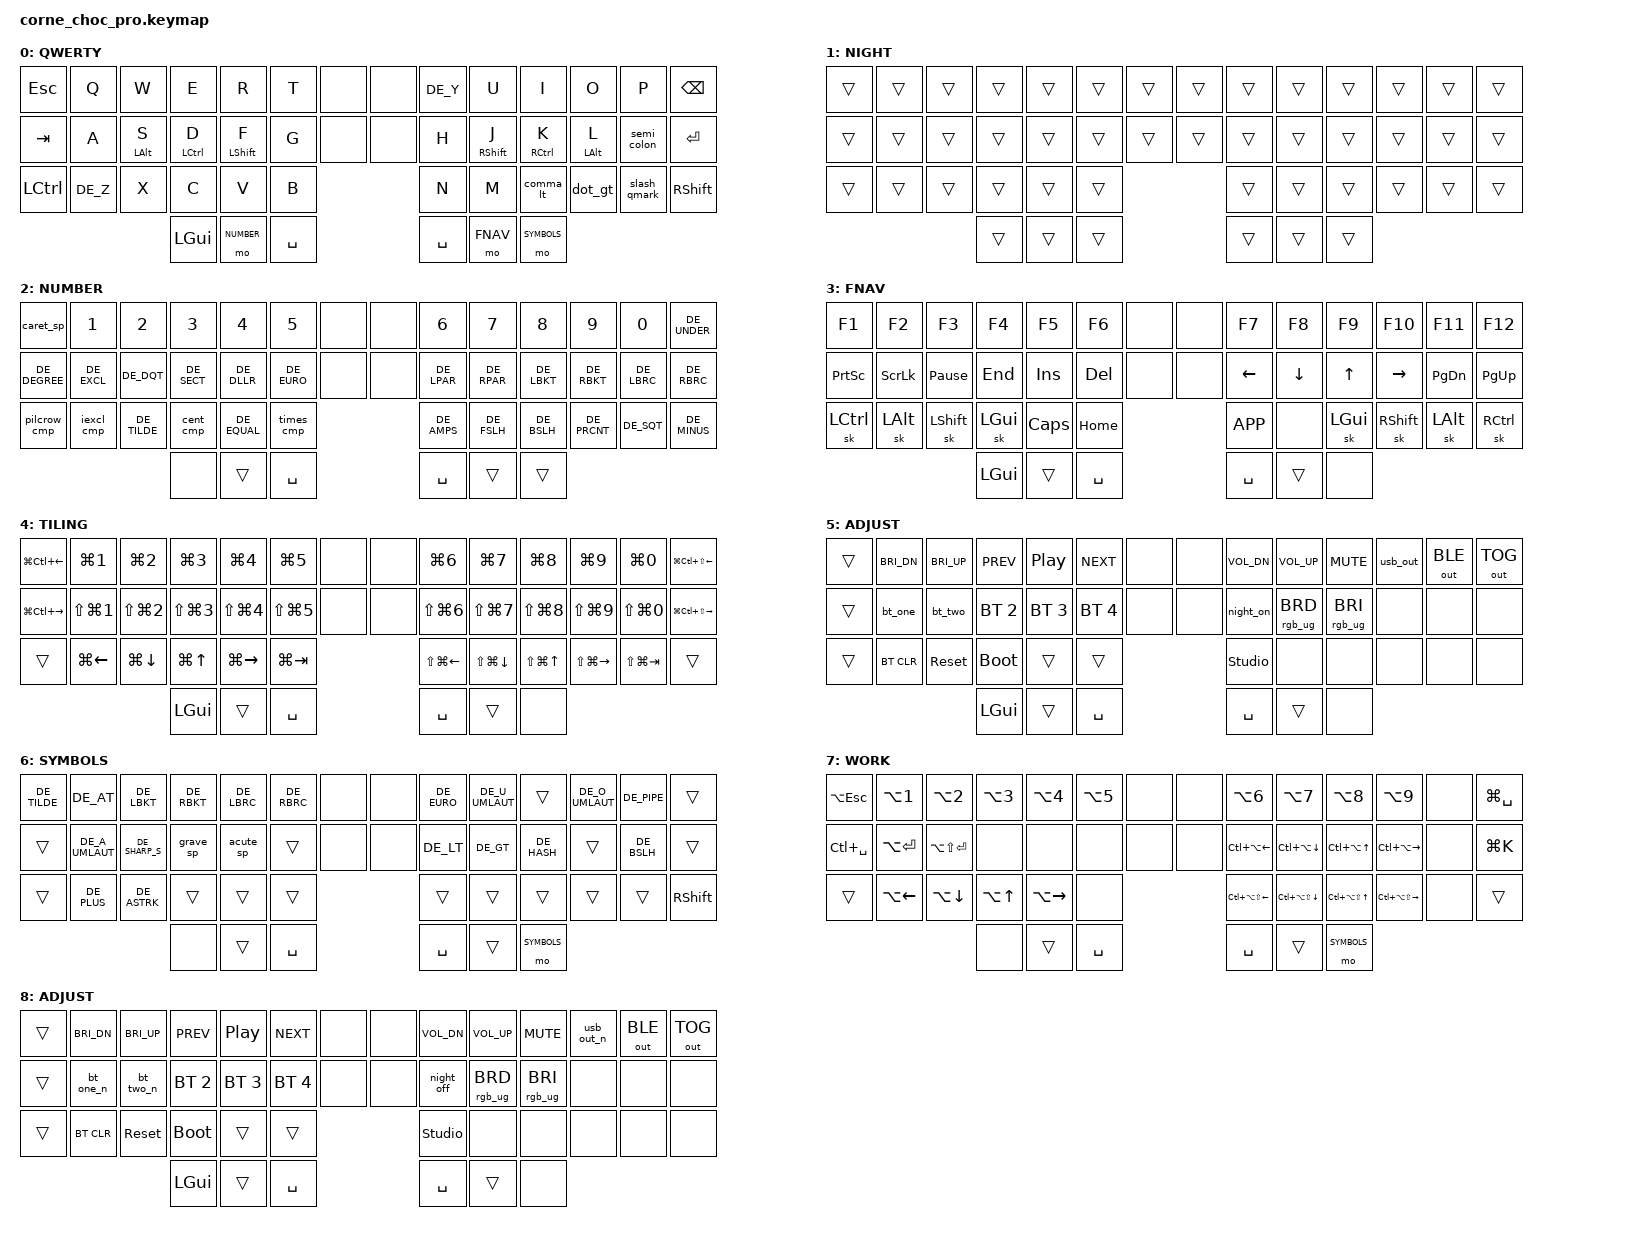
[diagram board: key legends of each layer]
/*
 * Copyright (c) 2020 The ZMK Contributors
 *
 * SPDX-License-Identifier: MIT
 *
 * Corne Choc Pro BT (nRF52840, nice!view) – German host layout
 *
 * The host uses the system layout "de" (XKBLAYOUT=de); there is no per-device override and no remapping tool. Every
 * character is sent with a DE_* key code (keys_de.h), so the character that is meant is the character that arrives.
 * Letters are QWERTY as on the keycaps: DE_Y on the top row, DE_Z on the bottom row (the host swaps y and z).
 * The repository is the truth: ZMK Studio is for trying things out only (see README).
 *
 * Layers:
 * 0 BASE          QWERTY; the keycap legends are US: ; : , < . > / ? come from mod-morphs
 * 1 NIGHT         on with H on ADJUST, off with H on ADJUST_NIGHT: all transparent; only a marker for the night light,
 *                 it makes ADJUST become ADJUST_NIGHT
 * 2 NUMBER        Lower (left middle thumb): digits and symbols
 * 3 FNAV          Raise (right middle thumb): F-keys, arrows, navigation, sticky modifiers (bottom row)
 * 4 TILING        Lower + Raise: Hyprland (Omarchy 4.5.0) workspaces, focus, monitors
 * 5 ADJUST        Left Space + Right Space (combo): media, Bluetooth, reset, bootloader, Studio unlock
 * 6 SYMBOLS       right outer thumb: umlauts, ß, € and developer characters
 * 7 WORK          Lower + Symbols: herdr (Alt chords) and Omarchy single keys (menu, key list)
 * 8 ADJUST_NIGHT  ADJUST while NIGHT is on (conditional layer)
 *
 * The layer numbers are the #defines below; the keymap node order must match them.
 *
 * Home-row mods (base layer): S/L = Alt, D/K = Ctrl, F/J = Shift when held together with a key of the other hand; a tap
 * types the letter. Alt+Tab: hold L (right hand), press Tab (left hand).
 *
 * Sticky modifiers (FNAV, bottom row, both halves): tap a modifier while Raise is held, release Raise, then press the key
 * (up to 3 s after the tap, the modifiers stack): Raise, Alt, Shift, release, T = Alt+Shift+T. Held together with another
 * key they are normal modifiers. The right Alt key is LALT, not RALT: RALT is AltGr in the German layout.
 *
 * Characters the German layout has no key for (¶ ¡ ¢ ×) are typed with the compose key (Omarchy 4.5.0: Shift+Caps Lock)
 * and a sequence of the X11 Compose table, one macro each on the NUMBER layer.
 *
 * Dead keys of the German layout (^ ´ `) need a following Space on the host: the macros caret_sp, acute_sp and grave_sp
 * send the character and the Space, so the character appears at once.
 */

#include <behaviors.dtsi>
#include <dt-bindings/zmk/keys.h>
#include <dt-bindings/zmk/bt.h>
#include <dt-bindings/zmk/outputs.h>
#include <dt-bindings/zmk/rgb.h>
#include "keys_de.h"

// Sticky modifiers stay for 3 s after the tap (ZMK default 1 s): too short for "hold Raise, tap two modifiers, release, key".
&sk {
    release-after-ms = <3000>;
};

// Layer numbers. The order of the nodes in the keymap below must match them.
#define BASE          0
#define NIGHT         1
#define NUMBER        2
#define FNAV          3
#define TILING        4
#define ADJUST        5
#define SYMBOLS       6
#define WORK          7
#define ADJUST_NIGHT  8

// Device colours: the LEDs show which device the keyboard now talks to (hue 0..360, saturation 0..100).
// Teal and Mauve are the host colours of the two computers: PROMPT_COLOR in hosts/*/host.env of the dotfiles repository,
// Catppuccin Mocha Teal #94e2d5 (hue 170) for yaxay-one and Mauve #cba6f7 (hue 267) for yaxay-two. The saturation is
// deliberately raised (the palette colours have about 35 % and 33 %): at 20 % LED brightness a pastel would look white.
// USB is a warm orange that belongs to no host.
#define HUE_BT_ONE    170   // Teal,  BT profile 0 (yaxay-one)
#define SAT_BT_ONE    85
#define HUE_BT_TWO    267   // Mauve, BT profile 1 (yaxay-two)
#define SAT_BT_TWO    80
#define HUE_USB       30    // orange, USB output
#define SAT_USB       50

// Brightness is a percentage of CONFIG_ZMK_RGB_UNDERGLOW_BRT_MAX (20 in the board's defconfig): 100 is 20 % of what the
// LEDs can do, 20 is 4 % (night light).
#define BRT_DEVICE    100
#define BRT_NIGHT     20

// How long a device colour stays on, in ms, and the macro wait time that is in force otherwise (the value of
// CONFIG_ZMK_MACRO_DEFAULT_WAIT_MS, ZMK's default).
#define LIGHT_MS      2000
#define MACRO_WAIT_DEFAULT 15

/ {
    chosen {
        zmk,physical-layout = &default_layout;
    };

    // Conditional layers
    conditional_layers {
        compatible = "zmk,conditional-layers";

        // Tiling: Lower + Raise
        tri_layer_tiling {
            if-layers = <NUMBER FNAV>;
            then-layer = <TILING>;
        };

        // Work (herdr, Omarchy single keys): Lower + Symbols
        tri_layer_work {
            if-layers = <NUMBER SYMBOLS>;
            then-layer = <WORK>;
        };

        // Night light: ADJUST while NIGHT is on shows the night-light variants of the device keys
        adjust_night {
            if-layers = <ADJUST NIGHT>;
            then-layer = <ADJUST_NIGHT>;
        };
    };

    // Combos for Adjust layer (Left Space + Right Space)
    combos {
        compatible = "zmk,combos";

        combo_adjust {
            timeout-ms = <50>;
            key-positions = <42 43>; // Left Space (42) + Right Space (43)
            bindings = <&mo ADJUST>;
        };
    };

    behaviors {
        // Home-row mods: hold = modifier only together with a key of the other hand (positional), tap = letter.
        hml: homerow_mods_left {
            compatible = "zmk,behavior-hold-tap";
            #binding-cells = <2>;
            flavor = "balanced";
            tapping-term-ms = <280>;
            quick-tap-ms = <175>;
            require-prior-idle-ms = <150>;
            bindings = <&kp>, <&kp>;
            hold-trigger-key-positions = <8 9 10 11 12 13 22 23 24 25 26 27 34 35 36 37 38 39 43 44 45>;
            hold-trigger-on-release;
        };
        hmr: homerow_mods_right {
            compatible = "zmk,behavior-hold-tap";
            #binding-cells = <2>;
            flavor = "balanced";
            tapping-term-ms = <280>;
            quick-tap-ms = <175>;
            require-prior-idle-ms = <150>;
            bindings = <&kp>, <&kp>;
            hold-trigger-key-positions = <0 1 2 3 4 5 14 15 16 17 18 19 28 29 30 31 32 33 40 41 42>;
            hold-trigger-on-release;
        };

        // US legends on the base layer with the German host layout: the shifted character is another key code.
        semi_colon: semi_colon {
            compatible = "zmk,behavior-mod-morph";
            #binding-cells = <0>;
            bindings = <&kp DE_SEMI>, <&kp DE_COLON>;
            mods = <(MOD_LSFT|MOD_RSFT)>;
        };
        comma_lt: comma_lt {
            compatible = "zmk,behavior-mod-morph";
            #binding-cells = <0>;
            bindings = <&kp DE_COMMA>, <&kp DE_LT>;
            mods = <(MOD_LSFT|MOD_RSFT)>;
        };
        dot_gt: dot_gt {
            compatible = "zmk,behavior-mod-morph";
            #binding-cells = <0>;
            bindings = <&kp DE_DOT>, <&kp DE_GT>;
            mods = <(MOD_LSFT|MOD_RSFT)>;
        };
        slash_qmark: slash_qmark {
            compatible = "zmk,behavior-mod-morph";
            #binding-cells = <0>;
            bindings = <&kp DE_FSLH>, <&kp DE_QMARK>;
            mods = <(MOD_LSFT|MOD_RSFT)>;
        };
    };

    macros {
        // Characters the German layout has no key for: the compose key (Omarchy 4.5.0: Shift+Caps Lock) and the sequence
        // from the X11 Compose table (checked in en_US.UTF-8/Compose; ~/.XCompose of the computer does not touch them).
        pilcrow_cmp: pilcrow_cmp {
            compatible = "zmk,behavior-macro";
            #binding-cells = <0>;
            bindings = <&macro_tap &kp LS(CAPS) &kp P &kp DE_EXCL>;        // ¶ = Compose p !
        };
        iexcl_cmp: iexcl_cmp {
            compatible = "zmk,behavior-macro";
            #binding-cells = <0>;
            bindings = <&macro_tap &kp LS(CAPS) &kp DE_EXCL &kp DE_EXCL>;  // ¡ = Compose ! !
        };
        cent_cmp: cent_cmp {
            compatible = "zmk,behavior-macro";
            #binding-cells = <0>;
            bindings = <&macro_tap &kp LS(CAPS) &kp C &kp DE_FSLH>;        // ¢ = Compose c /
        };
        times_cmp: times_cmp {
            compatible = "zmk,behavior-macro";
            #binding-cells = <0>;
            bindings = <&macro_tap &kp LS(CAPS) &kp X &kp X>;              // × = Compose x x
        };
        // Dead keys of the German layout: the character and a Space, so it is typed at once.
        caret_sp: caret_sp {
            compatible = "zmk,behavior-macro";
            #binding-cells = <0>;
            bindings = <&macro_tap &kp DE_CARET &kp SPACE>;
        };
        acute_sp: acute_sp {
            compatible = "zmk,behavior-macro";
            #binding-cells = <0>;
            bindings = <&macro_tap &kp DE_ACUTE &kp SPACE>;
        };
        grave_sp: grave_sp {
            compatible = "zmk,behavior-macro";
            #binding-cells = <0>;
            bindings = <&macro_tap &kp DE_GRAVE &kp SPACE>;
        };

        // Device colours: select the output or the profile, show the colour of the device for LIGHT_MS, switch the LEDs
        // off. RGB_COLOR_HSB and RGB_ON go to both halves (global behaviour). All macros share one queue: while one waits,
        // the next one (also the dead-key macros above) starts after it, up to LIGHT_MS later. Plain key presses are not
        // delayed. The wait set before RGB_ON is the pause after it, so the LEDs stay on for LIGHT_MS before RGB_OFF;
        // it is set back before RGB_OFF, or the queue would stand still for LIGHT_MS after it.
        bt_one: bt_one {
            compatible = "zmk,behavior-macro";
            #binding-cells = <0>;
            bindings = <&macro_tap
                &bt BT_SEL 0
                &rgb_ug RGB_COLOR_HSB(HUE_BT_ONE, SAT_BT_ONE, BRT_DEVICE)
                &macro_wait_time LIGHT_MS
                &rgb_ug RGB_ON
                &macro_wait_time MACRO_WAIT_DEFAULT
                &rgb_ug RGB_OFF>;
        };
        bt_two: bt_two {
            compatible = "zmk,behavior-macro";
            #binding-cells = <0>;
            bindings = <&macro_tap
                &bt BT_SEL 1
                &rgb_ug RGB_COLOR_HSB(HUE_BT_TWO, SAT_BT_TWO, BRT_DEVICE)
                &macro_wait_time LIGHT_MS
                &rgb_ug RGB_ON
                &macro_wait_time MACRO_WAIT_DEFAULT
                &rgb_ug RGB_OFF>;
        };
        usb_out: usb_out {
            compatible = "zmk,behavior-macro";
            #binding-cells = <0>;
            bindings = <&macro_tap
                &out OUT_USB
                &rgb_ug RGB_COLOR_HSB(HUE_USB, SAT_USB, BRT_DEVICE)
                &macro_wait_time LIGHT_MS
                &rgb_ug RGB_ON
                &macro_wait_time MACRO_WAIT_DEFAULT
                &rgb_ug RGB_OFF>;
        };

        // Night light (ADJUST_NIGHT): the same colours at BRT_NIGHT, and the LEDs stay on.
        bt_one_n: bt_one_n {
            compatible = "zmk,behavior-macro";
            #binding-cells = <0>;
            bindings = <&macro_tap
                &bt BT_SEL 0
                &rgb_ug RGB_COLOR_HSB(HUE_BT_ONE, SAT_BT_ONE, BRT_NIGHT)
                &rgb_ug RGB_ON>;
        };
        bt_two_n: bt_two_n {
            compatible = "zmk,behavior-macro";
            #binding-cells = <0>;
            bindings = <&macro_tap
                &bt BT_SEL 1
                &rgb_ug RGB_COLOR_HSB(HUE_BT_TWO, SAT_BT_TWO, BRT_NIGHT)
                &rgb_ug RGB_ON>;
        };
        usb_out_n: usb_out_n {
            compatible = "zmk,behavior-macro";
            #binding-cells = <0>;
            bindings = <&macro_tap
                &out OUT_USB
                &rgb_ug RGB_COLOR_HSB(HUE_USB, SAT_USB, BRT_NIGHT)
                &rgb_ug RGB_ON>;
        };

        // Night light on and off. The NIGHT layer and the LEDs are in one macro, so they are queued behind macros that are
        // still running (a device colour is not cut short). Neither macro depends on the state the LEDs were in:
        // night_on (on ADJUST) dims first and switches on last, so there is no flash of the old brightness: RGB_BRD sets
        // the brightness absolutely on both halves and works with the LEDs off, ten steps of 10 reach 0 from any value
        // (the step is CONFIG_ZMK_RGB_UNDERGLOW_BRT_STEP, default 10), two RGB_BRI steps make 20 = BRT_NIGHT. The whole
        // macro takes 14 taps of 45 ms, about 0.6 s. night_off (on ADJUST_NIGHT) switches the NIGHT layer off and the
        // LEDs off.
        night_on: night_on {
            compatible = "zmk,behavior-macro";
            #binding-cells = <0>;
            bindings = <&macro_tap
                &tog NIGHT
                &rgb_ug RGB_BRD &rgb_ug RGB_BRD &rgb_ug RGB_BRD &rgb_ug RGB_BRD &rgb_ug RGB_BRD
                &rgb_ug RGB_BRD &rgb_ug RGB_BRD &rgb_ug RGB_BRD &rgb_ug RGB_BRD &rgb_ug RGB_BRD
                &rgb_ug RGB_BRI &rgb_ug RGB_BRI
                &rgb_ug RGB_ON>;
        };
        night_off: night_off {
            compatible = "zmk,behavior-macro";
            #binding-cells = <0>;
            bindings = <&macro_tap &tog NIGHT &rgb_ug RGB_OFF>;
        };
    };
};

/ {
    keymap {
        compatible = "zmk,keymap";

        default_layer {
            display-name = "QWERTY";
            // -----------------------------------------------------------------------------------------
            // QWERTY base layer (the keycaps are US-QWERTY)
            // | ESC  |  Q  |  W  |  E  |  R  |  T  | NONE | NONE |  Y  |  U  |  I  |  O  |  P  | BSPC|
            // | TAB  |  A  |  S  |  D  |  F  |  G  | NONE | NONE |  H  |  J  |  K  |  L  | ; : | ENT |
            // | CTRL |  Z  |  X  |  C  |  V  |  B  |              |  N  |  M  | , < | . > | / ? | SHFT|
            //                    | SUP | LWR | SPC |              | SPC | RSE | SYM |
            //
            // DE_Y / DE_Z: the host layout "de" swaps y and z, the key codes swap them back.
            // ; :  , <  . >  / ?  are mod-morphs: Shift sends the second character of the US legend.
            bindings = <
                &kp ESC   &kp Q    &kp W &kp E &kp R &kp T &none &none &kp DE_Y &kp U  &kp I     &kp O   &kp P        &kp BSPC
                &kp TAB   &kp A    &hml LALT S &hml LCTRL D &hml LSHFT F &kp G &none &none &kp H     &hmr RSHFT J  &hmr RCTRL K     &hmr LALT L   &semi_colon  &kp RET
                &kp LCTRL &kp DE_Z &kp X &kp C &kp V &kp B             &kp N     &kp M  &comma_lt &dot_gt &slash_qmark &kp RSHFT
                                            &kp LGUI &mo NUMBER &kp SPACE   &kp SPACE &mo FNAV &mo SYMBOLS
            >;
        };

        night_layer {
            display-name = "NIGHT";
            // -----------------------------------------------------------------------------------------
            // Marker layer for the night light: everything is transparent, so the keys of BASE show through. It is
            // switched on and off on ADJUST (right half, H: night_on and night_off). While it is on, the conditional layer
            // ADJUST_NIGHT replaces ADJUST.
            bindings = <
                &trans &trans &trans &trans &trans &trans &trans &trans &trans &trans &trans &trans &trans &trans
                &trans &trans &trans &trans &trans &trans &trans &trans &trans &trans &trans &trans &trans &trans
                &trans &trans &trans &trans &trans &trans               &trans &trans &trans &trans &trans &trans
                                      &trans &trans &trans               &trans &trans &trans
            >;
        };

        lower_layer {
            display-name = "NUMBER";
            // -----------------------------------------------------------------------------------------
            // Numbers and symbols (German key codes)
            // LEFT SIDE:                 RIGHT SIDE:
            // Row 1: ^  1  2  3  4  5    6  7  8  9  0  _
            // Row 2: °  !  "  §  $  €    (  )  [  ]  {  }
            // Row 3: +  *  ~  #  =  @    &  /  \  %  '  -
            //
            // ^ is a dead key on the host: caret_sp sends ^ and Space, so it is typed at once.
            // The left outer thumb (Super on the other layers) sends nothing here: with Super down, AltGr+8 would be
            // Super+8 (a workspace) instead of [ . Press Lower alone; if Super is already down, release it first.
            bindings = <
                &caret_sp     &kp N1      &kp N2     &kp N3       &kp N4       &kp N5      &none &none &kp N6        &kp N7        &kp N8        &kp N9        &kp N0        &kp DE_UNDER
                &kp DE_DEGREE &kp DE_EXCL &kp DE_DQT &kp DE_SECT  &kp DE_DLLR  &kp DE_EURO &none &none &kp DE_LPAR   &kp DE_RPAR   &kp DE_LBKT   &kp DE_RBKT   &kp DE_LBRC   &kp DE_RBRC
                &pilcrow_cmp  &iexcl_cmp   &kp DE_TILDE &cent_cmp    &kp DE_EQUAL &times_cmp        &kp DE_AMPS   &kp DE_FSLH   &kp DE_BSLH   &kp DE_PRCNT  &kp DE_SQT    &kp DE_MINUS
                                                          &none     &trans &kp SPACE   &kp SPACE &trans &trans
            >;
        };

        raise_layer {
            display-name = "FNAV";
            // -----------------------------------------------------------------------------------------
            // Function Keys and Navigation
            // |  F1 |  F2 |  F3 |  F4 |  F5 |  F6 | NONE | NONE |  F7 |  F8 |  F9 | F10 | F11 | F12 |
            // |PRINT|SCRLK|PAUSE| END | INS | DEL | NONE | NONE |  ←  |  ↓  |  ↑  |  →  |PGDN |PGUP |
            // |sCTRL|sALT |sSHFT|sSUP | CAPS| HOME|              | MENU|  -  |sSUP |sSHFT| sALT|sCTRL|
            //                    | SUP |     | SPC |              | SPC |     |  -  |
            // Del is on the left hand, next to Ctrl and Alt (Ctrl+Alt+Del closes all windows in Omarchy).
            // The bottom-row modifiers are sticky (&sk, 3 s): tap them while Raise is held, release Raise, then press the key;
            // several stack, and they apply to the next key that is not a modifier. Held together with another key they act
            // as normal modifiers. The right Alt is LALT: RALT is AltGr in the German layout.
            bindings = <
                &kp F1     &kp F2    &kp F3          &kp F4   &kp F5   &kp F6  &none &none &kp F7   &kp F8    &kp F9    &kp F10   &kp F11   &kp F12
                &kp PSCRN  &kp SLCK  &kp PAUSE_BREAK &kp END  &kp INS  &kp DEL &none &none &kp LEFT &kp DOWN  &kp UP    &kp RIGHT &kp PG_DN &kp PG_UP
                &sk LCTRL  &sk LALT  &sk LSHFT       &sk LGUI &kp CAPS &kp HOME        &kp K_APP &none    &sk LGUI  &sk RSHFT &sk LALT  &sk RCTRL
                                              &kp LGUI &trans &kp SPACE                &kp SPACE &trans &none
            >;
        };

        tiling_layer {
            display-name = "TILING";
            // -----------------------------------------------------------------------------------------
            // Hyprland (Omarchy 4.5.0), Lower + Raise. Every monitor has a block of ten workspaces; Super+1…0 acts on
            // the block of the focused monitor.
            //
            // Row 1:  outer left  Super+Ctrl+Left   (focus the monitor on the left)
            //         Q W E R T → Super+1..5   Y U I O P → Super+6..0
            //         outer right Super+Ctrl+Shift+Left (move the window to the monitor on the left)
            // Row 2:  outer left  Super+Ctrl+Right  (focus the monitor on the right)
            //         A S D F G → Super+Shift+1..5   H J K L ; → Super+Shift+6..0 (move the window to the workspace)
            //         outer right Super+Ctrl+Shift+Right (move the window to the monitor on the right)
            // Row 3:  Z X C V B → Super+Left/Down/Up/Right (focus window), Super+Tab (next workspace)
            //         N M , . / → Super+Shift+Left/Down/Up/Right (swap window), Super+Shift+Tab (previous workspace)
            bindings = <
                &kp LG(LC(LEFT))  &kp LG(N1)     &kp LG(N2)     &kp LG(N3)     &kp LG(N4)     &kp LG(N5)     &none &none &kp LG(N6)     &kp LG(N7)     &kp LG(N8)     &kp LG(N9)     &kp LG(N0)     &kp LG(LC(LS(LEFT)))
                &kp LG(LC(RIGHT)) &kp LS(LG(N1)) &kp LS(LG(N2)) &kp LS(LG(N3)) &kp LS(LG(N4)) &kp LS(LG(N5)) &none &none &kp LS(LG(N6)) &kp LS(LG(N7)) &kp LS(LG(N8)) &kp LS(LG(N9)) &kp LS(LG(N0)) &kp LG(LC(LS(RIGHT)))
                &trans            &kp LG(LEFT)   &kp LG(DOWN)   &kp LG(UP)     &kp LG(RIGHT)  &kp LG(TAB)               &kp LS(LG(LEFT)) &kp LS(LG(DOWN)) &kp LS(LG(UP)) &kp LS(LG(RIGHT)) &kp LS(LG(TAB)) &trans
                                                                &kp LGUI &trans &kp SPACE                           &kp SPACE &trans &none
            >;
        };

        adjust_layer {
            display-name = "ADJUST";
            // -----------------------------------------------------------------------------------------
            // Media, Bluetooth, system (Left Space + Right Space combo)
            // Row 1: brightness −/+, previous, play/pause, next | volume −/+, mute, output USB (usb_out) / BLE / toggle
            // Row 2: A S = Bluetooth profile 0, 1 (bt_one, bt_two), D F G = profile 2..4 | H night on (night_on),
            //        J / K = LED brightness −/+
            // Row 3: BT clear (active profile), sys_reset, bootloader | ZMK Studio unlock (right half, away from the reset keys)
            // bt_one, bt_two and usb_out switch and show the colour of the device on the LEDs for two seconds. While the
            // night light is on, ADJUST_NIGHT replaces this layer: the same keys, the colour stays on, dimmed, and H
            // switches the night light off (night_off).
            bindings = <
                &trans       &kp C_BRI_DN &kp C_BRI_UP &kp C_PREV   &kp C_PP     &kp C_NEXT   &none &none &kp C_VOL_DN &kp C_VOL_UP &kp C_MUTE &usb_out &out OUT_BLE &out OUT_TOG
                &trans       &bt_one      &bt_two      &bt BT_SEL 2 &bt BT_SEL 3 &bt BT_SEL 4 &none &none &night_on &rgb_ug RGB_BRD &rgb_ug RGB_BRI &none &none &none
                &trans       &bt BT_CLR   &sys_reset   &bootloader  &trans       &trans              &studio_unlock &none &none &none &none &none
                                                       &kp LGUI &trans &kp SPACE                     &kp SPACE &trans &none
            >;
        };

        symbols_layer {
            display-name = "SYMBOLS";
            // -----------------------------------------------------------------------------------------
            // Symbols layer (held with the right outer thumb), German key codes
            // Row 1: ~ @ [ ] { } |  € ü . ö | .     Row 2: . ä ß ` ´ . |  < > # . \ .
            // Umlauts and ß sit on their letters (a, u, o, s); capitals with Shift. ` and ´ are dead keys on the host:
            // grave_sp and acute_sp send the character and Space.
            // Hold the right outer thumb alone. The left outer thumb (Super on the other layers) sends nothing here: with
            // Super down, AltGr+8 would be Super+8 (a workspace) instead of [ . If Super is already down, release it first.
            bindings = <
                &kp DE_TILDE &kp DE_AT       &kp DE_LBKT   &kp DE_RBKT &kp DE_LBRC &kp DE_RBRC &none &none &kp DE_EURO &kp DE_U_UMLAUT &trans    &kp DE_O_UMLAUT &kp DE_PIPE &trans
                &trans       &kp DE_A_UMLAUT &kp DE_SHARP_S &grave_sp  &acute_sp   &trans       &none &none &kp DE_LT   &kp DE_GT       &kp DE_HASH &trans          &kp DE_BSLH &trans
                &trans       &kp DE_PLUS     &kp DE_ASTRK  &trans      &trans      &trans                   &trans      &trans          &trans      &trans          &trans      &kp RSHFT
                                                           &none     &trans &kp SPACE   &kp SPACE &trans &mo SYMBOLS
            >;
        };

        work_layer {
            display-name = "WORK";
            // -----------------------------------------------------------------------------------------
            // herdr and Omarchy single keys (Lower + Symbols). Left hand: herdr tabs, splits, prefix. Right hand: herdr
            // pane focus (Ctrl+Alt+arrows) and resize (Ctrl+Alt+Shift+arrows). Unused keys send nothing.
            bindings = <
                &kp LA(ESC)   &kp LA(N1)      &kp LA(N2)       &kp LA(N3)    &kp LA(N4)   &kp LA(N5) &none &none &kp LA(N6)                &kp LA(N7)                 &kp LA(N8)               &kp LA(N9)                &none     &kp LG(SPACE)
                &kp LC(SPACE) &kp LA(RET)     &kp LA(LS(RET))  &none         &none        &none      &none &none &kp LC(LA(LEFT))          &kp LC(LA(DOWN))           &kp LC(LA(UP))           &kp LC(LA(RIGHT))         &none     &kp LG(K)
                &trans        &kp LA(LEFT)    &kp LA(DOWN)    &kp LA(UP)    &kp LA(RIGHT) &none                &kp LC(LA(LS(LEFT)))     &kp LC(LA(LS(DOWN)))       &kp LC(LA(LS(UP)))       &kp LC(LA(LS(RIGHT)))     &none     &trans
                                                               &none     &trans &kp SPACE   &kp SPACE &trans &mo SYMBOLS
            >;
        };

        adjust_night_layer {
            display-name = "ADJUST";
            // -----------------------------------------------------------------------------------------
            // ADJUST while NIGHT is on (conditional layer adjust_night): a copy of ADJUST, with the night-light variants
            // (the colour of the device at low brightness, the LEDs stay on) instead of bt_one, bt_two and usb_out, and
            // night_off instead of night_on (H). Keep every other key in step with ADJUST.
            bindings = <
                &trans       &kp C_BRI_DN &kp C_BRI_UP &kp C_PREV   &kp C_PP     &kp C_NEXT   &none &none &kp C_VOL_DN &kp C_VOL_UP &kp C_MUTE &usb_out_n &out OUT_BLE &out OUT_TOG
                &trans       &bt_one_n    &bt_two_n    &bt BT_SEL 2 &bt BT_SEL 3 &bt BT_SEL 4 &none &none &night_off &rgb_ug RGB_BRD &rgb_ug RGB_BRI &none &none &none
                &trans       &bt BT_CLR   &sys_reset   &bootloader  &trans       &trans              &studio_unlock &none &none &none &none &none
                                                       &kp LGUI &trans &kp SPACE                     &kp SPACE &trans &none
            >;
        };
    };
};
